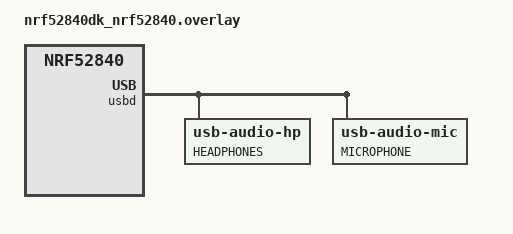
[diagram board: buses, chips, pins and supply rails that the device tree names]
/*
 * Copyright (c) 2019 Nordic Semiconductor ASA
 *
 * SPDX-License-Identifier: Apache-2.0
 */

&usbd {
	hp_0 {
		label = "HEADPHONES";
		compatible = "usb-audio-hp";
		feature-mute;
		channel-l;
		channel-r;
	};
	mic_0 {
		label = "MICROPHONE";
		compatible = "usb-audio-mic";
		feature-mute;
		channel-l;
		channel-r;
	};
};
